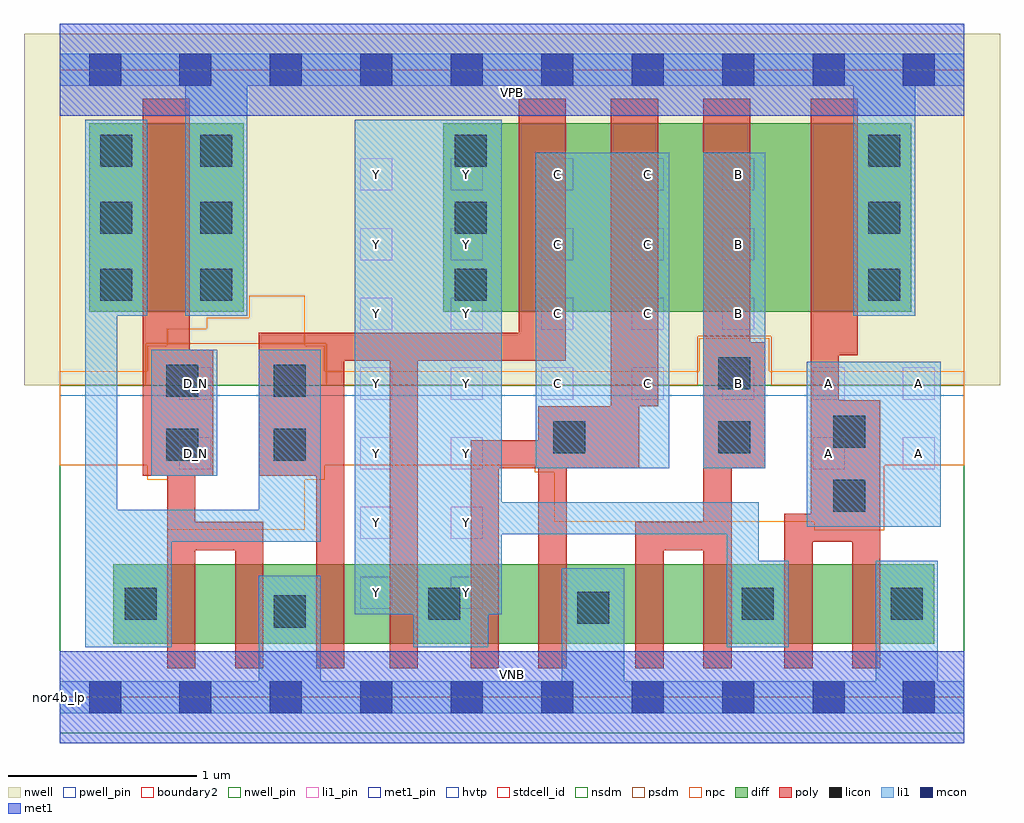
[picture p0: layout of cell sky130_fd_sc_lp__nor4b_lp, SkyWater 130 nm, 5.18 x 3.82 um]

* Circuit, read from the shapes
.subckt sky130_fd_sc_lp__nor4b_lp A B C D_N VGND VNB VPB VPWR Y
XM1 n1 D_N n2 VNB sky130_fd_pr__nfet_01v8 w=0.42 l=0.15
XM2 VGND D_N n1 VNB sky130_fd_pr__nfet_01v8 w=0.42 l=0.15
XM3 n3 n2 VGND VNB sky130_fd_pr__nfet_01v8 w=0.42 l=0.15
XM4 Y n2 n3 VNB sky130_fd_pr__nfet_01v8 w=0.42 l=0.15
XM5 n4 C Y VNB sky130_fd_pr__nfet_01v8 w=0.42 l=0.15
XM6 VGND C n4 VNB sky130_fd_pr__nfet_01v8 w=0.42 l=0.15
XM7 n5 B VGND VNB sky130_fd_pr__nfet_01v8 w=0.42 l=0.15
XM8 Y B n5 VNB sky130_fd_pr__nfet_01v8 w=0.42 l=0.15
XM9 n6 A Y VNB sky130_fd_pr__nfet_01v8 w=0.42 l=0.15
XM10 VGND A n6 VNB sky130_fd_pr__nfet_01v8 w=0.42 l=0.15
XM11 VPWR D_N n2 VPB sky130_fd_pr__pfet_01v8_hvt w=1 l=0.25
XM12 n7 n2 Y VPB sky130_fd_pr__pfet_01v8_hvt w=1 l=0.25
XM13 n8 C n7 VPB sky130_fd_pr__pfet_01v8_hvt w=1 l=0.25
XM14 n9 B n8 VPB sky130_fd_pr__pfet_01v8_hvt w=1 l=0.25
XM15 VPWR A n9 VPB sky130_fd_pr__pfet_01v8_hvt w=1 l=0.25
.ends

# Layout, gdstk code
import gdstk
lib = gdstk.Library(unit=1e-6, precision=1e-09)
def R(c, l, rs):  # rectangles x0, y0, x1, y1
    for r in rs: c.add(gdstk.rectangle(r[:2], r[2:], *l))
def A(c, l, x, y, w, h, nx, ny, dx, dy):  # array of equal rectangles
    R(c, l, [(x+i*dx, y+j*dy, x+i*dx+w, y+j*dy+h) for i in range(nx) for j in range(ny)])
def P(c, l, *ps):  # polygons
    for p in ps: c.add(gdstk.Polygon(p, *l))
nwell_pin = (64, 16)
nwell = (64, 20)
diff = (65, 20)
poly = (66, 20)
licon = (66, 44)
li1_pin = (67, 16)
li1 = (67, 20)
mcon = (67, 44)
met1_pin = (68, 16)
met1 = (68, 20)
hvtp = (78, 44)
stdcell_id = (81, 4)
nsdm = (93, 44)
psdm = (94, 20)
npc = (95, 20)
pwell_pin = (122, 16)
boundary2 = (236, 0)

sky130_fd_sc_lp__nor4b_l = lib.new_cell('sky130_fd_sc_lp__nor4b_lp')
R(sky130_fd_sc_lp__nor4b_l, nwell_pin, [(0,3.085,4.8,3.33)])
R(sky130_fd_sc_lp__nor4b_l, nwell, [(-0.19,1.655,4.99,3.52)])
R(sky130_fd_sc_lp__nor4b_l, diff, [(0.285,0.285,4.64,0.705), (0.155,2.045,0.975,3.045), (2.035,2.045,4.52,3.045)])
P(sky130_fd_sc_lp__nor4b_l, poly, [(1.08,0.93),(0.72,0.93),(0.72,1.175),(0.815,1.175),(0.815,1.845),(0.69,1.845),(0.69,3.175),(0.44,3.175),(0.44,1.175),(0.57,1.175),(0.57,0.155),(0.72,0.155),(0.72,0.78),(0.93,0.78),(0.93,0.155),(1.08,0.155)],
  [(2.685,3.175),(2.435,3.175),(2.435,1.935),(1.055,1.935),(1.055,1.175),(1.36,1.175),(1.36,0.155),(1.51,0.155),(1.51,1.785),(1.75,1.785),(1.75,0.155),(1.9,0.155),(1.9,1.785),(2.685,1.785)],
  [(3.175,3.175),(2.925,3.175),(2.925,1.545),(2.54,1.545),(2.54,1.365),(2.18,1.365),(2.18,0.155),(2.33,0.155),(2.33,1.215),(2.54,1.215),(2.54,0.155),(2.69,0.155),(2.69,1.215),(3.075,1.215),(3.075,1.545),(3.175,1.545)],
  [(3.745,1.885),(3.665,1.885),(3.665,3.175),(3.415,3.175),(3.415,0.93),(3.055,0.93),(3.055,0.155),(3.205,0.155),(3.205,0.78),(3.415,0.78),(3.415,0.155),(3.565,0.155),(3.565,1.215),(3.745,1.215)],
  [(4.355,1.575),(4.135,1.575),(4.135,1.815),(4.235,1.815),(4.235,3.175),(3.985,3.175),(3.985,0.975),(3.845,0.975),(3.845,0.155),(3.995,0.155),(3.995,0.825),(4.205,0.825),(4.205,0.155),(4.355,0.155)])
A(sky130_fd_sc_lp__nor4b_l, licon, 0.215, 2.105, 0.17, 0.17, 1, 3, 0, 0.355)
A(sky130_fd_sc_lp__nor4b_l, licon, 0.745, 2.105, 0.17, 0.17, 1, 3, 0, 0.355)
A(sky130_fd_sc_lp__nor4b_l, licon, 2.095, 2.105, 0.17, 0.17, 1, 3, 0, 0.355)
A(sky130_fd_sc_lp__nor4b_l, licon, 4.29, 2.105, 0.17, 0.17, 1, 3, 0, 0.355)
R(sky130_fd_sc_lp__nor4b_l, licon, [(1.135,0.37,1.305,0.54), (2.745,0.39,2.915,0.56), (0.345,0.41,0.515,0.58), (1.955,0.41,2.125,0.58), (3.62,0.41,3.79,0.58), (4.41,0.41,4.58,0.58), (4.105,0.985,4.275,1.155), (0.565,1.255,0.735,1.425), (1.135,1.255,1.305,1.425), (2.62,1.295,2.79,1.465), (3.495,1.295,3.665,1.465), (4.105,1.325,4.275,1.495), (0.565,1.595,0.735,1.765), (1.135,1.595,1.305,1.765), (3.495,1.635,3.665,1.805)])
A(sky130_fd_sc_lp__nor4b_l, li1_pin, 1.595, 0.47, 0.17, 0.17, 1, 3, 0, 0.37)
A(sky130_fd_sc_lp__nor4b_l, li1_pin, 2.075, 0.47, 0.17, 0.17, 1, 3, 0, 0.37)
A(sky130_fd_sc_lp__nor4b_l, li1_pin, 1.595, 1.58, 0.17, 0.17, 7, 1, 0.48, 0)
A(sky130_fd_sc_lp__nor4b_l, li1_pin, 1.595, 1.95, 0.17, 0.17, 5, 3, 0.48, 0.37)
R(sky130_fd_sc_lp__nor4b_l, li1_pin, [(0.635,1.21,0.805,1.38), (3.995,1.21,4.165,1.38), (4.475,1.21,4.645,1.38), (0.635,1.58,0.805,1.75)])
R(sky130_fd_sc_lp__nor4b_l, li1, [(3.965,0.905,4.675,1.78), (0.485,1.175,0.835,1.845), (2.525,1.215,3.235,2.89), (3.415,1.215,3.745,2.89)])
P(sky130_fd_sc_lp__nor4b_l, li1, [(0.665,2.025),(0.665,3.245),(0,3.245),(0,3.415),(4.8,3.415),(4.8,3.245),(4.54,3.245),(4.54,2.025),(4.21,2.025),(4.21,3.245),(0.995,3.245),(0.995,2.025)],
  [(2.665,0.085),(2.665,0.685),(2.995,0.685),(2.995,0.085),(4.33,0.085),(4.33,0.725),(4.66,0.725),(4.66,0.085),(4.8,0.085),(4.8,-0.085),(0,-0.085),(0,0.085),(1.055,0.085),(1.055,0.645),(1.385,0.645),(1.385,0.085)],
  [(2.345,1.035),(3.71,1.035),(3.71,0.725),(3.87,0.725),(3.87,0.265),(3.54,0.265),(3.54,0.865),(2.345,0.865),(2.345,0.44),(2.275,0.44),(2.275,0.265),(1.875,0.265),(1.875,0.44),(1.565,0.44),(1.565,3.065),(2.345,3.065)],
  [(0.135,3.065),(0.465,3.065),(0.465,2.025),(0.305,2.025),(0.305,0.995),(1.055,0.995),(1.055,1.845),(1.385,1.845),(1.385,0.825),(0.595,0.825),(0.595,0.265),(0.135,0.265)])
A(sky130_fd_sc_lp__nor4b_l, mcon, 0.155, -0.085, 0.17, 0.17, 10, 2, 0.48, 3.33)
R(sky130_fd_sc_lp__nor4b_l, met1_pin, [(0,0,4.8,0.245), (0,3.085,4.8,3.33)])
R(sky130_fd_sc_lp__nor4b_l, met1, [(0,-0.245,4.8,0.245), (0,3.085,4.8,3.575)])
R(sky130_fd_sc_lp__nor4b_l, hvtp, [(0,1.6,4.8,3.33)])
R(sky130_fd_sc_lp__nor4b_l, stdcell_id, [(0,0,4.8,3.33)])
R(sky130_fd_sc_lp__nor4b_l, nsdm, [(0,-0.19,4.8,1.655)])
P(sky130_fd_sc_lp__nor4b_l, psdm, [(4.8,3.52),(0,3.52),(0,1.655),(0.455,1.655),(0.455,1.875),(1.415,1.875),(1.415,1.655),(3.385,1.655),(3.385,1.915),(3.775,1.915),(3.775,1.655),(4.8,1.655)])
P(sky130_fd_sc_lp__nor4b_l, npc, [(4.8,1.73),(3.765,1.73),(3.765,1.905),(3.395,1.905),(3.395,1.73),(1.405,1.73),(1.405,1.865),(1.3,1.865),(1.3,2.13),(1.005,2.13),(1.005,2.015),(0.78,2.015),(0.78,1.955),(0.57,1.955),(0.57,1.865),(0.465,1.865),(0.465,1.73),(0,1.73),(0,1.23),(0.465,1.23),(0.465,1.155),(0.57,1.155),(0.57,0.89),(1.3,0.89),(1.3,1.155),(1.405,1.155),(1.405,1.23),(2.52,1.23),(2.52,1.195),(2.625,1.195),(2.625,0.93),(4.005,0.93),(4.005,0.885),(4.375,0.885),(4.375,1.23),(4.8,1.23)])
R(sky130_fd_sc_lp__nor4b_l, pwell_pin, [(0,0,4.8,0.245)])
R(sky130_fd_sc_lp__nor4b_l, boundary2, [(0,0,4.8,3.33)])
sky130_fd_sc_lp__nor4b_l.add(gdstk.Label('VNB', (2.4,0.123), layer=64, texttype=59))
sky130_fd_sc_lp__nor4b_l.add(gdstk.Label('VPB', (2.4,3.208), layer=64, texttype=5))
sky130_fd_sc_lp__nor4b_l.add(gdstk.Label('nor4b_lp', (0,0), layer=83, texttype=44))
sky130_fd_sc_lp__nor4b_l.add(gdstk.Label('VPWR', (2.4,3.208), layer=68, texttype=5))
sky130_fd_sc_lp__nor4b_l.add(gdstk.Label('VGND', (2.4,0.123), layer=68, texttype=5))
sky130_fd_sc_lp__nor4b_l.add(gdstk.Label('D_N', (0.72,1.295), layer=67, texttype=5))
sky130_fd_sc_lp__nor4b_l.add(gdstk.Label('D_N', (0.72,1.665), layer=67, texttype=5))
sky130_fd_sc_lp__nor4b_l.add(gdstk.Label('Y', (1.68,0.555), layer=67, texttype=5))
sky130_fd_sc_lp__nor4b_l.add(gdstk.Label('Y', (1.68,0.925), layer=67, texttype=5))
sky130_fd_sc_lp__nor4b_l.add(gdstk.Label('Y', (1.68,1.295), layer=67, texttype=5))
sky130_fd_sc_lp__nor4b_l.add(gdstk.Label('Y', (1.68,1.665), layer=67, texttype=5))
sky130_fd_sc_lp__nor4b_l.add(gdstk.Label('Y', (1.68,2.035), layer=67, texttype=5))
sky130_fd_sc_lp__nor4b_l.add(gdstk.Label('Y', (1.68,2.405), layer=67, texttype=5))
sky130_fd_sc_lp__nor4b_l.add(gdstk.Label('Y', (1.68,2.775), layer=67, texttype=5))
sky130_fd_sc_lp__nor4b_l.add(gdstk.Label('Y', (2.16,0.555), layer=67, texttype=5))
sky130_fd_sc_lp__nor4b_l.add(gdstk.Label('Y', (2.16,0.925), layer=67, texttype=5))
sky130_fd_sc_lp__nor4b_l.add(gdstk.Label('Y', (2.16,1.295), layer=67, texttype=5))
sky130_fd_sc_lp__nor4b_l.add(gdstk.Label('Y', (2.16,1.665), layer=67, texttype=5))
sky130_fd_sc_lp__nor4b_l.add(gdstk.Label('Y', (2.16,2.035), layer=67, texttype=5))
sky130_fd_sc_lp__nor4b_l.add(gdstk.Label('Y', (2.16,2.405), layer=67, texttype=5))
sky130_fd_sc_lp__nor4b_l.add(gdstk.Label('Y', (2.16,2.775), layer=67, texttype=5))
sky130_fd_sc_lp__nor4b_l.add(gdstk.Label('C', (2.64,1.665), layer=67, texttype=5))
sky130_fd_sc_lp__nor4b_l.add(gdstk.Label('C', (2.64,2.035), layer=67, texttype=5))
sky130_fd_sc_lp__nor4b_l.add(gdstk.Label('C', (2.64,2.405), layer=67, texttype=5))
sky130_fd_sc_lp__nor4b_l.add(gdstk.Label('C', (2.64,2.775), layer=67, texttype=5))
sky130_fd_sc_lp__nor4b_l.add(gdstk.Label('C', (3.12,1.665), layer=67, texttype=5))
sky130_fd_sc_lp__nor4b_l.add(gdstk.Label('C', (3.12,2.035), layer=67, texttype=5))
sky130_fd_sc_lp__nor4b_l.add(gdstk.Label('C', (3.12,2.405), layer=67, texttype=5))
sky130_fd_sc_lp__nor4b_l.add(gdstk.Label('C', (3.12,2.775), layer=67, texttype=5))
sky130_fd_sc_lp__nor4b_l.add(gdstk.Label('B', (3.6,1.665), layer=67, texttype=5))
sky130_fd_sc_lp__nor4b_l.add(gdstk.Label('B', (3.6,2.035), layer=67, texttype=5))
sky130_fd_sc_lp__nor4b_l.add(gdstk.Label('B', (3.6,2.405), layer=67, texttype=5))
sky130_fd_sc_lp__nor4b_l.add(gdstk.Label('B', (3.6,2.775), layer=67, texttype=5))
sky130_fd_sc_lp__nor4b_l.add(gdstk.Label('A', (4.08,1.295), layer=67, texttype=5))
sky130_fd_sc_lp__nor4b_l.add(gdstk.Label('A', (4.08,1.665), layer=67, texttype=5))
sky130_fd_sc_lp__nor4b_l.add(gdstk.Label('A', (4.56,1.295), layer=67, texttype=5))
sky130_fd_sc_lp__nor4b_l.add(gdstk.Label('A', (4.56,1.665), layer=67, texttype=5))

lib.write_gds('sky130_fd_sc_lp__nor4b_lp.gds')
